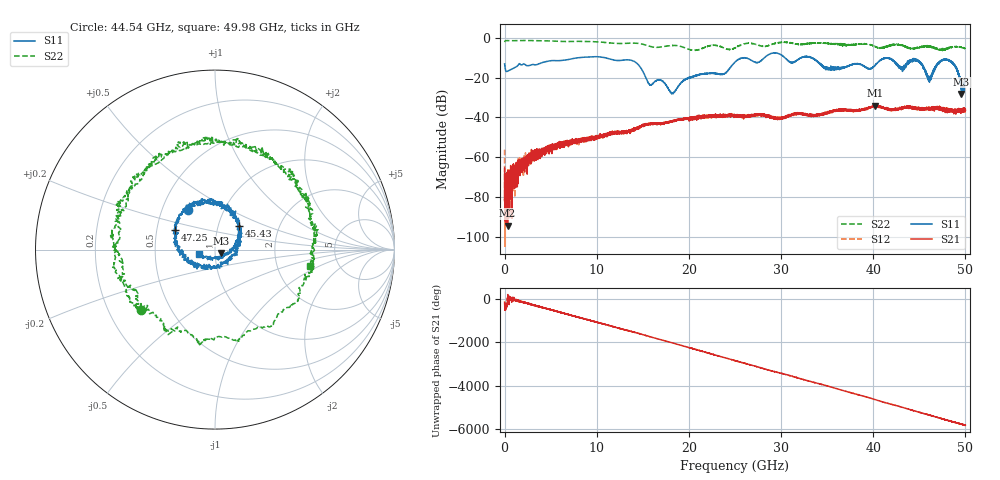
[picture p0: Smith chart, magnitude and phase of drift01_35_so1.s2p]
!Created with skrf (http://scikit-rf.org).
# Hz S RI R 50.0
!freq ReS11 ImS11 ReS21 ImS21 ReS12 ImS12 ReS22 ImS22
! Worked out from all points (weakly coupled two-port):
!   10001 points, 300 kHz to 50 GHz, reference 50 ohm
!   highest |S21| = -34.07 dB at 40.23 GHz (marker M1); lowest = -94.3 dB at 325.3 MHz (marker M2)
!   lowest |S11| = -28.2 dB at 49.58 GHz (marker M3), VSWR 1.08, Z = 53.5 - j1.98 ohm
!   |S11| at or under -10 dB: start of sweep to 8.051 GHz; 10.89 GHz to 26.01 GHz (15.12 GHz wide, 82 % of centre); 33.32 GHz to end of sweep (the widest 3 of 15)
!   |S22| runs from -6.4 to -1.4 dB; largest |S21 - S12| = 0.0057
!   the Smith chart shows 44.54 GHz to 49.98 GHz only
!   S11 on the Smith chart (normalised r, x): 44.54 GHz: 0.68, +0.32; 45.43 GHz: 1.26, +0.35; 47.25 GHz: 0.63, +0.15; 49.98 GHz: 0.84, -0.04
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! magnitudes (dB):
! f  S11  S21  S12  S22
! 300 kHz  -13.1  -65.7  -56.2  -2.2
! 325.3 MHz  -16.8  -94.3  -75.2  -1.4
! 3.02 GHz  -13.5  -58.0  -59.4  -1.4
! 8.335 GHz  -9.9  -51.3  -51.3  -1.8
! 13.78 GHz  -11.4  -46.8  -46.6  -2.7
! 15.73 GHz  -23.5  -43.5  -43.1  -4.2
! 16.67 GHz  -21.2  -43.2  -43.0  -4.8
! 18.24 GHz  -27.7  -42.2  -41.8  -3.9
! 25 GHz  -12.2  -39.5  -39.4  -5.1
! 33.34 GHz  -10.1  -39.3  -39.0  -2.6
! 35.12 GHz  -15.7  -37.6  -37.6  -2.8
! 40.23 GHz  -13.7  -34.1  -34.5  -4.5
! 41.67 GHz  -10.3  -36.2  -35.8  -4.1
! 43.07 GHz  -15.4  -35.2  -35.4  -3.6
! 44.54 GHz  -11.5  -35.3  -35.3  -5.4
! 45.43 GHz  -14.4  -36.1  -35.6  -4.4
! 46.12 GHz  -19.8  -36.2  -35.7  -4.4
! 47.25 GHz  -12.2  -35.3  -35.6  -5.6
! 48.7 GHz  -13.2  -36.2  -36.6  -4.6
! 49.58 GHz  -28.2  -36.0  -37.2  -4.9
! 49.98 GHz  -20.7  -35.6  -36.8  -5.4
! 50 GHz  -20.4  -36.3  -37.0  -5.4
